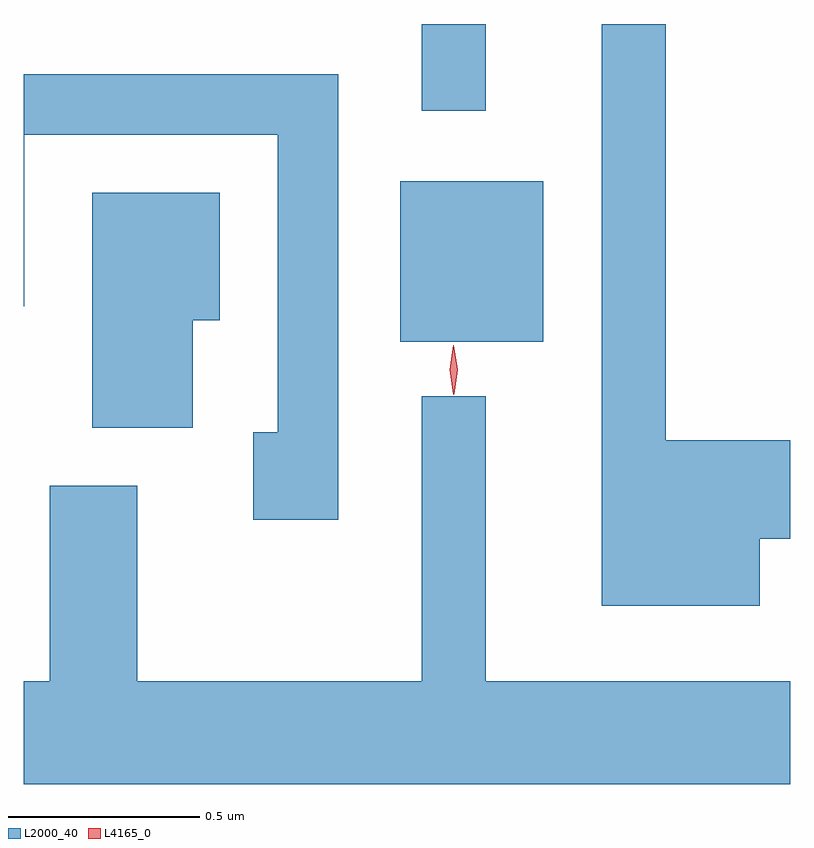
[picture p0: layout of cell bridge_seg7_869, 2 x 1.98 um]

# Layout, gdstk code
import gdstk
lib = gdstk.Library(unit=1e-6, precision=1e-09)
def R(c, l, rs):  # rectangles x0, y0, x1, y1
    for r in rs: c.add(gdstk.rectangle(r[:2], r[2:], *l))
def P(c, l, *ps):  # polygons
    for p in ps: c.add(gdstk.Polygon(p, *l))
L2000_40 = (2000, 40)
L4165_0 = (4165, 0)

bridge_seg7_869 = lib.new_cell('bridge_seg7_869')
R(bridge_seg7_869, L2000_40, [(272.646,1719.911,273.019,1720.329), (272.701,1720.513,272.869,1720.74)])
P(bridge_seg7_869, L2000_40, [(273.584,1719.396),(273.663,1719.396),(273.663,1719.654),(273.339,1719.654),(273.339,1720.74),(273.171,1720.74),(273.171,1719.221),(273.584,1719.221)],
  [(272.484,1720.609),(271.663,1720.609),(271.663,1720.003),(271.664,1720.003),(271.664,1720.451),(272.326,1720.451),(272.326,1719.674),(272.261,1719.674),(272.261,1719.446),(272.484,1719.446)],
  [(272.104,1719.966),(272.174,1719.966),(272.174,1720.299),(271.841,1720.299),(271.841,1719.686),(272.104,1719.686)],
  [(273.663,1719.024),(272.869,1719.024),(272.869,1719.768),(272.701,1719.768),(272.701,1719.024),(271.959,1719.024),(271.959,1719.534),(271.731,1719.534),(271.731,1719.024),(271.663,1719.024),(271.663,1718.756),(273.663,1718.756)])
P(bridge_seg7_869, L4165_0, [(272.785,1719.772),(272.784,1719.773),(272.775,1719.837),(272.784,1719.901),(272.784,1719.902),(272.785,1719.901),(272.795,1719.837),(272.786,1719.773)])

lib.write_gds('bridge_seg7_869.gds')
